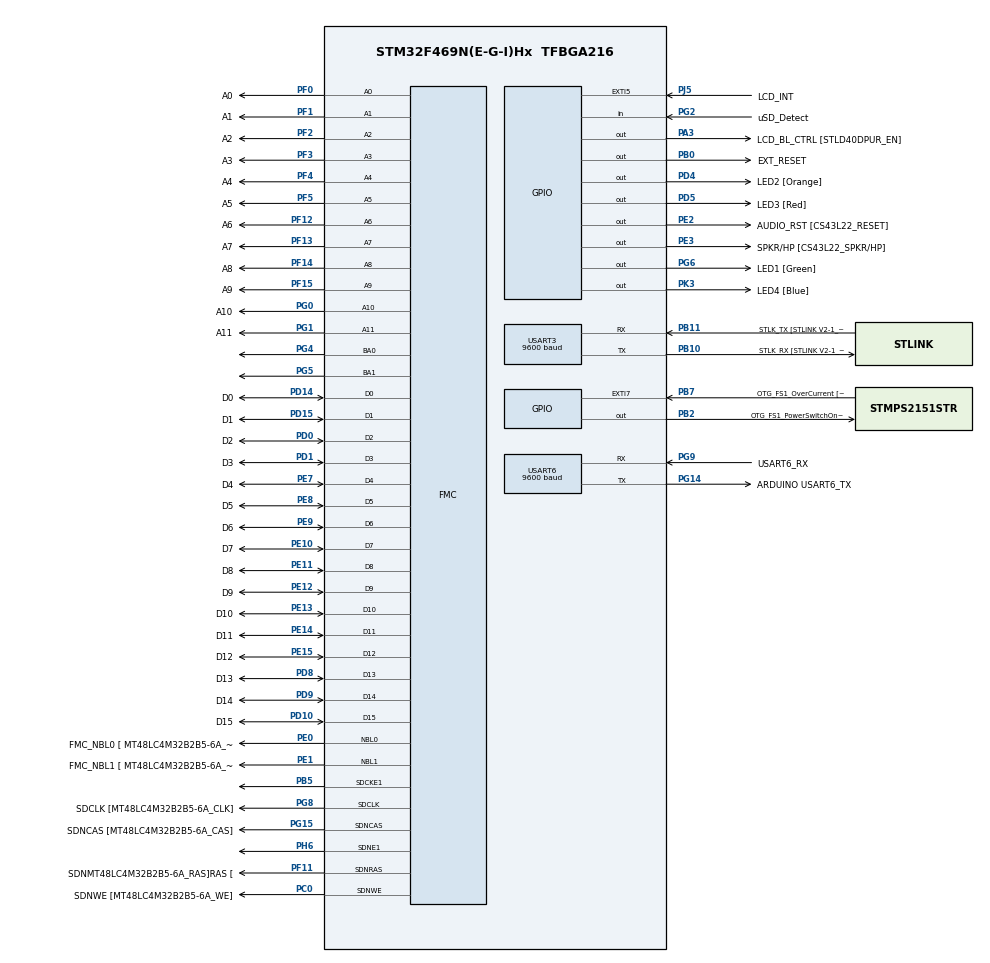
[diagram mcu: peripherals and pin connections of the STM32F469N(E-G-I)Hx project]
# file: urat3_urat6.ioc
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DSIHOST_CKN.GPIO_Label=DSI_CK_N
DSIHOST_CKN.Signal=DSIHOST_CKN
DSIHOST_CKP.GPIO_Label=DSI_CK_P
DSIHOST_CKP.Signal=DSIHOST_CKP
DSIHOST_D0N.GPIO_Label=DSI_D0_N
DSIHOST_D0N.Signal=DSIHOST_D0N
DSIHOST_D0P.GPIO_Label=DSI_D0_P
DSIHOST_D0P.Signal=DSIHOST_D0P
DSIHOST_D1N.GPIO_Label=DSI_D1_N
DSIHOST_D1N.Signal=DSIHOST_D1N
DSIHOST_D1P.GPIO_Label=DSI_D1_P
DSIHOST_D1P.Signal=DSIHOST_D1P
FMC.CASLatency1=FMC_SDRAM_CAS_LATENCY_2
FMC.ExitSelfRefreshDelay1=8
FMC.LoadToActiveDelay1=2
FMC.RCDDelay1=3
FMC.RPDelay1=2
FMC.RPDelay2=2
FMC.RowCycleDelay1=7
FMC.RowCycleDelay2=7
FMC.SDClockPeriod1=FMC_SDRAM_CLOCK_PERIOD_2
FMC.SDClockPeriod2=FMC_SDRAM_CLOCK_PERIOD_2
FMC.SelfRefreshTime1=5
FMC.WriteRecoveryTime1=2
Mcu.Family=STM32F4
Mcu.Name=STM32F469N(E-G-I)Hx
Mcu.Package=TFBGA216
NVIC.PriorityGroup=NVIC_PRIORITYGROUP_4
NVIC.USART3_IRQn=true\:0\:0\:false\:false\:true
NVIC.USART6_IRQn=true\:0\:0\:false\:false\:true
PA0/WKUP.GPIO_Label=WAKEUP [B2]
PA0/WKUP.Signal=SYS_WKUP
PA10.GPIO_Label=USB_FS1_ID
PA10.GPIO_Mode=GPIO_MODE_AF_PP
PA10.GPIO_PuPd=GPIO_NOPULL
PA10.GPIO_Speed=GPIO_SPEED_FREQ_VERY_HIGH
PA10.Signal=USB_OTG_FS_ID
PA11.GPIO_Label=USB_FS1_N
PA11.GPIO_Mode=GPIO_MODE_AF_PP
PA11.GPIO_PuPd=GPIO_NOPULL
PA11.GPIO_Speed=GPIO_SPEED_FREQ_VERY_HIGH
PA11.Signal=USB_OTG_FS_DM
PA12.GPIO_Label=USB_FS1_P
PA12.GPIO_Mode=GPIO_MODE_AF_PP
PA12.GPIO_PuPd=GPIO_NOPULL
PA12.GPIO_Speed=GPIO_SPEED_FREQ_VERY_HIGH
PA12.Signal=USB_OTG_FS_DP
PA13.GPIO_Label=SWDIO
PA13.Signal=SYS_JTMS-SWDIO
PA14.GPIO_Label=SWCLK
PA14.Signal=SYS_JTCK-SWCLK
PA3.GPIO_Label=LCD_BL_CTRL [STLD40DPUR_EN]
PA3.Signal=GPIO_Output
PA9.GPIO_Label=VBUS_FS1
PA9.GPIO_Mode=GPIO_MODE_AF_PP
PA9.GPIO_PuPd=GPIO_NOPULL
PA9.GPIO_Speed=GPIO_SPEED_FREQ_VERY_HIGH
PA9.Signal=USB_OTG_FS_VBUS
PB0.GPIO_Label=EXT_RESET
PB0.Signal=GPIO_Output
PB10.GPIO_Label=STLK_RX [STLINK V2-1_U2_RX]
PB10.Mode=Asynchronous
PB10.Signal=USART3_TX
PB11.GPIO_Label=STLK_TX [STLINK V2-1_U2_TX]
PB11.Mode=Asynchronous
PB11.Signal=USART3_RX
PB2/BOOT1.GPIO_Label=OTG_FS1_PowerSwitchOn [STMPS2151STR_En]
PB2/BOOT1.Signal=GPIO_Output
PB3.GPIO_Label=I2S3_CK
PB3.GPIO_Mode=GPIO_MODE_AF_PP
PB3.GPIO_PuPd=GPIO_NOPULL
PB3.GPIO_Speed=GPIO_SPEED_FREQ_LOW
PB3.Signal=I2S3_CK
PB5.Mode=SdramChipSelect2_1
PB5.Signal=FMC_SDCKE1
PB6.GPIO_Label=QSPI_BK1_NCS [N25Q128A13EF840F_S]
PB6.GPIO_Mode=GPIO_MODE_AF_PP
PB6.GPIO_PuPd=GPIO_NOPULL
PB6.GPIO_Speed=GPIO_SPEED_FREQ_VERY_HIGH
PB6.Signal=QUADSPI_BK1_NCS
PB7.GPIO_Label=OTG_FS1_OverCurrent [STMPS2151STR_FAULT]
PB7.GPIO_ModeDefaultEXTI=GPIO_MODE_IT_RISING
PB7.GPIO_PuPd=GPIO_NOPULL
PB7.Signal=GPXTI7
PB8.GPIO_Label=I2C1_SCL
PB8.GPIO_Mode=GPIO_MODE_AF_OD
PB8.GPIO_PuPdOD=GPIO_PULLUP
PB8.GPIO_Speed=GPIO_SPEED_FREQ_VERY_HIGH
PB8.Signal=I2C1_SCL
PB9.GPIO_Label=I2C1_SDA
PB9.GPIO_Mode=GPIO_MODE_AF_OD
PB9.GPIO_PuPdOD=GPIO_PULLUP
PB9.GPIO_Speed=GPIO_SPEED_FREQ_VERY_HIGH
PB9.Signal=I2C1_SDA
PC0.GPIO_Label=SDNWE [MT48LC4M32B2B5-6A_WE]
PC0.Signal=FMC_SDNWE
PC10.GPIO_Label=uSD_D2
PC10.GPIO_Mode=GPIO_MODE_AF_PP
PC10.GPIO_PuPd=GPIO_NOPULL
PC10.GPIO_Speed_High_Default=GPIO_SPEED_FREQ_VERY_HIGH
PC10.Signal=SDIO_D2
PC11.GPIO_Label=uSD_D3
PC11.GPIO_Mode=GPIO_MODE_AF_PP
PC11.GPIO_PuPd=GPIO_NOPULL
PC11.GPIO_Speed_High_Default=GPIO_SPEED_FREQ_VERY_HIGH
PC11.Signal=SDIO_D3
PC12.GPIO_Label=uSD_CLK
PC12.GPIO_Mode=GPIO_MODE_AF_PP
PC12.GPIO_PuPd=GPIO_NOPULL
PC12.GPIO_Speed_High_Default=GPIO_SPEED_FREQ_VERY_HIGH
PC12.Signal=SDIO_CK
PC14/OSC32_IN.Signal=RCC_OSC32_IN
PC15/OSC32_OUT.Signal=RCC_OSC32_OUT
PC8.GPIO_Label=uSD_D0
PC8.GPIO_Mode=GPIO_MODE_AF_PP
PC8.GPIO_PuPd=GPIO_NOPULL
PC8.GPIO_Speed_High_Default=GPIO_SPEED_FREQ_VERY_HIGH
PC8.Signal=SDIO_D0
PC9.GPIO_Label=uSD_D1
PC9.GPIO_Mode=GPIO_MODE_AF_PP
PC9.GPIO_PuPd=GPIO_NOPULL
PC9.GPIO_Speed_High_Default=GPIO_SPEED_FREQ_VERY_HIGH
PC9.Signal=SDIO_D1
PD0.GPIO_Label=D2
PD0.GPIO_Mode=GPIO_MODE_AF_PP
PD0.GPIO_PuPd=GPIO_NOPULL
PD0.GPIO_Speed_High_Default=GPIO_SPEED_FREQ_VERY_HIGH
PD0.Signal=FMC_D2_DA2
PD1.GPIO_Label=D3
PD1.GPIO_Mode=GPIO_MODE_AF_PP
PD1.GPIO_PuPd=GPIO_NOPULL
PD1.GPIO_Speed_High_Default=GPIO_SPEED_FREQ_VERY_HIGH
PD1.Signal=FMC_D3_DA3
PD10.GPIO_Label=D15
PD10.Signal=FMC_D15_DA15
PD13.GPIO_Label=MIC_CK [MP34DT01TR_CLK]
PD13.Signal=S_TIM4_CH2
PD14.GPIO_Label=D0
PD14.Signal=FMC_D0_DA0
PD15.GPIO_Label=D1
PD15.Signal=FMC_D1_DA1
PD2.GPIO_Label=uSD_CMD
PD2.GPIO_Mode=GPIO_MODE_AF_PP
PD2.GPIO_PuPd=GPIO_NOPULL
PD2.GPIO_Speed_High_Default=GPIO_SPEED_FREQ_VERY_HIGH
PD2.Signal=SDIO_CMD
PD4.GPIO_Label=LED2 [Orange]
PD4.GPIO_ModeDefaultOutputPP=GPIO_MODE_OUTPUT_OD
PD4.GPIO_PuPd=GPIO_NOPULL
PD4.GPIO_Speed=GPIO_SPEED_FREQ_LOW
PD4.Signal=GPIO_Output
PD5.GPIO_Label=LED3 [Red]
PD5.GPIO_ModeDefaultOutputPP=GPIO_MODE_OUTPUT_OD
PD5.GPIO_PuPd=GPIO_NOPULL
PD5.GPIO_Speed=GPIO_SPEED_FREQ_LOW
PD5.Signal=GPIO_Output
PD6.GPIO_Label=MIC_DATA [MP34DT01TR_DOUT]
PD6.GPIO_Mode=GPIO_MODE_AF_PP
PD6.GPIO_PuPd=GPIO_NOPULL
PD6.GPIO_Speed=GPIO_SPEED_FREQ_LOW
PD6.Signal=SAI1_SD_A
PD8.GPIO_Label=D13
PD8.Signal=FMC_D13_DA13
PD9.GPIO_Label=D14
PD9.Signal=FMC_D14_DA14
PE0.GPIO_Label=FMC_NBL0 [ MT48LC4M32B2B5-6A_DQM0]
PE0.GPIO_Mode=GPIO_MODE_AF_PP
PE0.GPIO_PuPd=GPIO_NOPULL
PE0.GPIO_Speed_High_Default=GPIO_SPEED_FREQ_VERY_HIGH
PE0.Signal=FMC_NBL0
PE1.GPIO_Label=FMC_NBL1 [ MT48LC4M32B2B5-6A_DQM1]
PE1.GPIO_Mode=GPIO_MODE_AF_PP
PE1.GPIO_PuPd=GPIO_NOPULL
PE1.GPIO_Speed_High_Default=GPIO_SPEED_FREQ_VERY_HIGH
PE1.Signal=FMC_NBL1
PE10.GPIO_Label=D7
PE10.Signal=FMC_D7_DA7
PE11.GPIO_Label=D8
PE11.Signal=FMC_D8_DA8
PE12.GPIO_Label=D9
PE12.Signal=FMC_D9_DA9
PE13.GPIO_Label=D10
PE13.Signal=FMC_D10_DA10
PE14.GPIO_Label=D11
PE14.Signal=FMC_D11_DA11
PE15.GPIO_Label=D12
PE15.Signal=FMC_D12_DA12
PE2.GPIO_Label=AUDIO_RST [CS43L22_RESET]
PE2.GPIO_ModeDefaultOutputPP=GPIO_MODE_OUTPUT_PP
PE2.GPIO_PuPd=GPIO_NOPULL
PE2.GPIO_Speed=GPIO_SPEED_FREQ_LOW
PE2.Signal=GPIO_Output
PE3.GPIO_Label=SPKR/HP [CS43L22_SPKR/HP]
PE3.GPIO_ModeDefaultOutputPP=GPIO_MODE_OUTPUT_PP
PE3.GPIO_PuPd=GPIO_NOPULL
PE3.GPIO_Speed=GPIO_SPEED_FREQ_LOW
PE3.Signal=GPIO_Output
PE4.GPIO_Label=SAI1_FSA [CS43L22_LRCK]
PE4.GPIO_Mode=GPIO_MODE_AF_PP
PE4.GPIO_PuPd=GPIO_NOPULL
PE4.GPIO_Speed=GPIO_SPEED_FREQ_LOW
PE4.Signal=SAI1_FS_A
PE5.GPIO_Label=SAI1_SCKA [CS43L22_CLK]
PE5.GPIO_Mode=GPIO_MODE_AF_PP
PE5.GPIO_PuPd=GPIO_NOPULL
PE5.GPIO_Speed=GPIO_SPEED_FREQ_LOW
PE5.Signal=SAI1_SCK_A
PE7.GPIO_Label=D4
PE7.Signal=FMC_D4_DA4
PE8.GPIO_Label=D5
PE8.Signal=FMC_D5_DA5
PE9.GPIO_Label=D6
PE9.Signal=FMC_D6_DA6
PF0.GPIO_Label=A0
PF0.GPIO_Mode=GPIO_MODE_AF_PP
PF0.GPIO_PuPd=GPIO_NOPULL
PF0.GPIO_Speed_High_Default=GPIO_SPEED_FREQ_VERY_HIGH
PF0.Signal=FMC_A0
PF1.GPIO_Label=A1
PF1.GPIO_Mode=GPIO_MODE_AF_PP
PF1.GPIO_PuPd=GPIO_NOPULL
PF1.GPIO_Speed_High_Default=GPIO_SPEED_FREQ_VERY_HIGH
PF1.Signal=FMC_A1
PF10.GPIO_Label=QSPI_CLK [N25Q128A13EF840F_C]
PF10.Signal=QUADSPI_CLK
PF11.GPIO_Label=SDNMT48LC4M32B2B5-6A_RAS]RAS [
PF11.Signal=FMC_SDNRAS
PF12.GPIO_Label=A6
PF12.Signal=FMC_A6
PF13.GPIO_Label=A7
PF13.Signal=FMC_A7
PF14.GPIO_Label=A8
PF14.Signal=FMC_A8
PF15.GPIO_Label=A9
PF15.Signal=FMC_A9
PF2.GPIO_Label=A2
PF2.GPIO_Mode=GPIO_MODE_AF_PP
PF2.GPIO_PuPd=GPIO_NOPULL
PF2.GPIO_Speed_High_Default=GPIO_SPEED_FREQ_VERY_HIGH
PF2.Signal=FMC_A2
PF3.GPIO_Label=A3
PF3.GPIO_Mode=GPIO_MODE_AF_PP
PF3.GPIO_PuPd=GPIO_NOPULL
PF3.GPIO_Speed_High_Default=GPIO_SPEED_FREQ_VERY_HIGH
PF3.Signal=FMC_A3
PF4.GPIO_Label=A4
PF4.GPIO_Mode=GPIO_MODE_AF_PP
PF4.GPIO_PuPd=GPIO_NOPULL
PF4.GPIO_Speed_High_Default=GPIO_SPEED_FREQ_VERY_HIGH
PF4.Signal=FMC_A4
PF5.GPIO_Label=A5
PF5.Signal=FMC_A5
PF6.GPIO_Label=QSPI_BK1_IO3 [N25Q128A13EF840F_DQ3]
PF6.Signal=QUADSPI_BK1_IO3
PF7.GPIO_Label=QSPI_BK1_IO2 [N25Q128A13EF840F_DQ2]
PF7.Signal=QUADSPI_BK1_IO2
PF8.GPIO_Label=QSPI_BK1_IO0 [N25Q128A13EF840F_DQ0]
PF8.Signal=QUADSPI_BK1_IO0
PF9.GPIO_Label=QSPI_BK1_IO1 [N25Q128A13EF840F_DQ1]
PF9.Signal=QUADSPI_BK1_IO1
PG0.GPIO_Label=A10
PG0.Signal=FMC_A10
PG1.GPIO_Label=A11
PG1.Signal=FMC_A11
PG14.GPIO_Label=ARDUINO USART6_TX
PG14.GPIO_Mode=GPIO_MODE_AF_PP
PG14.GPIO_PuPd=GPIO_NOPULL
PG14.GPIO_Speed=GPIO_SPEED_FREQ_VERY_HIGH
PG14.Mode=Asynchronous
PG14.Signal=USART6_TX
PG15.GPIO_Label=SDNCAS [MT48LC4M32B2B5-6A_CAS]
PG15.GPIO_Mode=GPIO_MODE_AF_PP
PG15.GPIO_PuPd=GPIO_NOPULL
PG15.GPIO_Speed_High_Default=GPIO_SPEED_FREQ_VERY_HIGH
PG15.Signal=FMC_SDNCAS
PG2.GPIO_Label=uSD_Detect
PG2.Signal=GPIO_Input
PG4.Signal=FMC_A14_BA0
PG5.Signal=FMC_A15_BA1
PG6.GPIO_Label=LED1 [Green]
PG6.GPIO_ModeDefaultOutputPP=GPIO_MODE_OUTPUT_OD
PG6.GPIO_PuPd=GPIO_NOPULL
PG6.GPIO_Speed=GPIO_SPEED_FREQ_LOW
PG6.Signal=GPIO_Output
PG7.GPIO_Label=SAI1_MCLKA [CS43L22_MCLK]
PG7.GPIO_Mode=GPIO_MODE_AF_PP
PG7.GPIO_PuPd=GPIO_NOPULL
PG7.GPIO_Speed=GPIO_SPEED_FREQ_LOW
PG7.Signal=SAI1_MCLK_A
PG8.GPIO_Label=SDCLK [MT48LC4M32B2B5-6A_CLK]
PG8.GPIO_Mode=GPIO_MODE_AF_PP
PG8.GPIO_PuPd=GPIO_NOPULL
PG8.GPIO_Speed_High_Default=GPIO_SPEED_FREQ_VERY_HIGH
PG8.Signal=FMC_SDCLK
PG9.GPIO_Label=USART6_RX
PG9.GPIO_Mode=GPIO_MODE_AF_PP
PG9.GPIO_PuPd=GPIO_NOPULL
PG9.GPIO_Speed=GPIO_SPEED_FREQ_VERY_HIGH
PG9.Mode=Asynchronous
PG9.Signal=USART6_RX
PH0/OSC_IN.Signal=RCC_OSC_IN
PH1/OSC_OUT.Signal=RCC_OSC_OUT
PH10.GPIO_Label=D18
PH10.Signal=FMC_D18
PH11.GPIO_Label=D19
PH11.Signal=FMC_D19
PH12.GPIO_Label=D20
PH12.Signal=FMC_D20
PH13.GPIO_Label=D21
PH13.GPIO_Mode=GPIO_MODE_AF_PP
PH13.GPIO_PuPd=GPIO_NOPULL
PH13.GPIO_Speed_High_Default=GPIO_SPEED_FREQ_VERY_HIGH
PH13.Signal=FMC_D21
PH14.GPIO_Label=D22
PH14.GPIO_Mode=GPIO_MODE_AF_PP
PH14.GPIO_PuPd=GPIO_NOPULL
PH14.GPIO_Speed_High_Default=GPIO_SPEED_FREQ_VERY_HIGH
PH14.Signal=FMC_D22
PH15.GPIO_Label=D23
PH15.GPIO_Mode=GPIO_MODE_AF_PP
PH15.GPIO_PuPd=GPIO_NOPULL
PH15.GPIO_Speed_High_Default=GPIO_SPEED_FREQ_VERY_HIGH
PH15.Signal=FMC_D23
PH2.GPIO_Label=SDCKE0 [MT48LC4M32B2B5-6A_CKE]
PH2.Signal=FMC_SDCKE0
PH3.GPIO_Label=SDNE0 [MT48LC4M32B2B5-6A_CS]
PH3.GPIO_Mode=GPIO_MODE_AF_PP
PH3.GPIO_PuPd=GPIO_NOPULL
PH3.GPIO_Speed_High_Default=GPIO_SPEED_FREQ_VERY_HIGH
PH3.Signal=FMC_SDNE0
PH4.GPIO_Label=I2C2_SCL [CS43L22_SCL]
PH4.GPIO_Mode=GPIO_MODE_AF_OD
PH4.GPIO_PuPdOD=GPIO_PULLUP
PH4.GPIO_Speed=GPIO_SPEED_FREQ_VERY_HIGH
PH4.Signal=I2C2_SCL
PH5.GPIO_Label=I2C2_SDA [CS43L22_SDA]
PH5.GPIO_Mode=GPIO_MODE_AF_OD
PH5.GPIO_PuPdOD=GPIO_PULLUP
PH5.GPIO_Speed=GPIO_SPEED_FREQ_VERY_HIGH
PH5.Signal=I2C2_SDA
PH6.Mode=SdramChipSelect2_1
PH6.Signal=FMC_SDNE1
PH8.GPIO_Label=D16
PH8.Signal=FMC_D16
PH9.GPIO_Label=D17
PH9.Signal=FMC_D17
PI0.GPIO_Label=D24
PI0.GPIO_Mode=GPIO_MODE_AF_PP
PI0.GPIO_PuPd=GPIO_NOPULL
PI0.GPIO_Speed_High_Default=GPIO_SPEED_FREQ_VERY_HIGH
PI0.Signal=FMC_D24
PI1.GPIO_Label=D25
PI1.GPIO_Mode=GPIO_MODE_AF_PP
PI1.GPIO_PuPd=GPIO_NOPULL
PI1.GPIO_Speed_High_Default=GPIO_SPEED_FREQ_VERY_HIGH
PI1.Signal=FMC_D25
PI10.GPIO_Label=D31
PI10.GPIO_Mode=GPIO_MODE_AF_PP
PI10.GPIO_PuPd=GPIO_NOPULL
PI10.GPIO_Speed_High_Default=GPIO_SPEED_FREQ_VERY_HIGH
PI10.Signal=FMC_D31
PI2.GPIO_Label=D26
PI2.GPIO_Mode=GPIO_MODE_AF_PP
PI2.GPIO_PuPd=GPIO_NOPULL
PI2.GPIO_Speed_High_Default=GPIO_SPEED_FREQ_VERY_HIGH
PI2.Signal=FMC_D26
PI3.GPIO_Label=D27
PI3.GPIO_Mode=GPIO_MODE_AF_PP
PI3.GPIO_PuPd=GPIO_NOPULL
PI3.GPIO_Speed_High_Default=GPIO_SPEED_FREQ_VERY_HIGH
PI3.Signal=FMC_D27
PI4.GPIO_Label=FMC_NBL2 [MT48LC4M32B2B5-6A_DQM2]
PI4.GPIO_Mode=GPIO_MODE_AF_PP
PI4.GPIO_PuPd=GPIO_NOPULL
PI4.GPIO_Speed_High_Default=GPIO_SPEED_FREQ_VERY_HIGH
PI4.Signal=FMC_NBL2
PI5.GPIO_Label=FMC_NBL3 [MT48LC4M32B2B5-6A_DQM3]
PI5.GPIO_Mode=GPIO_MODE_AF_PP
PI5.GPIO_PuPd=GPIO_NOPULL
PI5.GPIO_Speed_High_Default=GPIO_SPEED_FREQ_VERY_HIGH
PI5.Signal=FMC_NBL3
PI6.GPIO_Label=D28
PI6.GPIO_Mode=GPIO_MODE_AF_PP
PI6.GPIO_PuPd=GPIO_NOPULL
PI6.GPIO_Speed_High_Default=GPIO_SPEED_FREQ_VERY_HIGH
PI6.Signal=FMC_D28
PI7.GPIO_Label=D29
PI7.GPIO_Mode=GPIO_MODE_AF_PP
PI7.GPIO_PuPd=GPIO_NOPULL
PI7.GPIO_Speed_High_Default=GPIO_SPEED_FREQ_VERY_HIGH
PI7.Signal=FMC_D29
PI9.GPIO_Label=D30
PI9.GPIO_Mode=GPIO_MODE_AF_PP
PI9.GPIO_PuPd=GPIO_NOPULL
PI9.GPIO_Speed_High_Default=GPIO_SPEED_FREQ_VERY_HIGH
PI9.Signal=FMC_D30
PJ2.GPIO_Label=DSI_TE
PJ2.Signal=DSIHOST_TE
PJ5.GPIO_Label=LCD_INT
PJ5.Signal=GPXTI5
PK3.GPIO_Label=LED4 [Blue]
PK3.GPIO_ModeDefaultOutputPP=GPIO_MODE_OUTPUT_OD
PK3.GPIO_PuPd=GPIO_NOPULL
PK3.GPIO_Speed=GPIO_SPEED_FREQ_LOW
PK3.Signal=GPIO_Output
ProjectManager.HeapSize=0x200
ProjectManager.StackSize=0x400
ProjectManager.TargetToolchain=MDK-ARM V5
RCC.CortexFreq_Value=16000000
RCC.VCOOutputFreq_Value=192000000
SH.FMC_A0.0=FMC_A0,12b-sda1
SH.FMC_A1.0=FMC_A1,12b-sda1
SH.FMC_A10.0=FMC_A10,12b-sda1
SH.FMC_A11.0=FMC_A11,12b-sda1
SH.FMC_A14_BA0.0=FMC_BA0,FourSdramBanks1
SH.FMC_A15_BA1.0=FMC_BA1,FourSdramBanks1
SH.FMC_A2.0=FMC_A2,12b-sda1
SH.FMC_A3.0=FMC_A3,12b-sda1
SH.FMC_A4.0=FMC_A4,12b-sda1
SH.FMC_A5.0=FMC_A5,12b-sda1
SH.FMC_A6.0=FMC_A6,12b-sda1
SH.FMC_A7.0=FMC_A7,12b-sda1
SH.FMC_A8.0=FMC_A8,12b-sda1
SH.FMC_A9.0=FMC_A9,12b-sda1
SH.FMC_D0_DA0.0=FMC_D0,sd-16b-d1
SH.FMC_D10_DA10.0=FMC_D10,sd-16b-d1
SH.FMC_D11_DA11.0=FMC_D11,sd-16b-d1
SH.FMC_D12_DA12.0=FMC_D12,sd-16b-d1
SH.FMC_D13_DA13.0=FMC_D13,sd-16b-d1
SH.FMC_D14_DA14.0=FMC_D14,sd-16b-d1
SH.FMC_D15_DA15.0=FMC_D15,sd-16b-d1
SH.FMC_D16.0=FMC_D16
SH.FMC_D17.0=FMC_D17
SH.FMC_D18.0=FMC_D18
SH.FMC_D19.0=FMC_D19
SH.FMC_D1_DA1.0=FMC_D1,sd-16b-d1
SH.FMC_D20.0=FMC_D20
SH.FMC_D21.0=FMC_D21
SH.FMC_D22.0=FMC_D22
SH.FMC_D23.0=FMC_D23
SH.FMC_D24.0=FMC_D24
SH.FMC_D25.0=FMC_D25
SH.FMC_D26.0=FMC_D26
SH.FMC_D27.0=FMC_D27
SH.FMC_D28.0=FMC_D28
SH.FMC_D29.0=FMC_D29
SH.FMC_D2_DA2.0=FMC_D2,sd-16b-d1
SH.FMC_D30.0=FMC_D30
SH.FMC_D31.0=FMC_D31
SH.FMC_D3_DA3.0=FMC_D3,sd-16b-d1
SH.FMC_D4_DA4.0=FMC_D4,sd-16b-d1
SH.FMC_D5_DA5.0=FMC_D5,sd-16b-d1
SH.FMC_D6_DA6.0=FMC_D6,sd-16b-d1
SH.FMC_D7_DA7.0=FMC_D7,sd-16b-d1
SH.FMC_D8_DA8.0=FMC_D8,sd-16b-d1
SH.FMC_D9_DA9.0=FMC_D9,sd-16b-d1
SH.FMC_NBL0.0=FMC_NBL0,Sd2ByteEnable1
SH.FMC_NBL1.0=FMC_NBL1,Sd2ByteEnable1
SH.FMC_NBL2.0=FMC_NBL2
SH.FMC_NBL3.0=FMC_NBL3
SH.FMC_SDCLK.0=FMC_SDCLK,12b-sda1
SH.FMC_SDNCAS.0=FMC_SDNCAS,12b-sda1
SH.FMC_SDNRAS.0=FMC_SDNRAS,12b-sda1
SH.FMC_SDNWE.0=FMC_SDNWE,12b-sda1
SH.S_TIM4_CH2.0=TIM4_CH2
USART3.BaudRate=9600
USART3.VirtualMode=VM_ASYNC
USART6.BaudRate=9600
USART6.VirtualMode=VM_ASYNC
board=STM32F469I-DISCO

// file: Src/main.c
/**
  ******************************************************************************
  * File Name          : main.c
  * Description        : Main program body
  ******************************************************************************
  *
  * COPYRIGHT(c) 2017 STMicroelectronics
  *
  * Redistribution and use in source and binary forms, with or without modification,
  * are permitted provided that the following conditions are met:
  *   1. Redistributions of source code must retain the above copyright notice,
  *      this list of conditions and the following disclaimer.
  *   2. Redistributions in binary form must reproduce the above copyright notice,
  *      this list of conditions and the following disclaimer in the documentation
  *      and/or other materials provided with the distribution.
  *   3. Neither the name of STMicroelectronics nor the names of its contributors
  *      may be used to endorse or promote products derived from this software
  *      without specific prior written permission.
  *
  * THIS SOFTWARE IS PROVIDED BY THE COPYRIGHT HOLDERS AND CONTRIBUTORS "AS IS"
  * AND ANY EXPRESS OR IMPLIED WARRANTIES, INCLUDING, BUT NOT LIMITED TO, THE
  * IMPLIED WARRANTIES OF MERCHANTABILITY AND FITNESS FOR A PARTICULAR PURPOSE ARE
  * DISCLAIMED. IN NO EVENT SHALL THE COPYRIGHT HOLDER OR CONTRIBUTORS BE LIABLE
  * FOR ANY DIRECT, INDIRECT, INCIDENTAL, SPECIAL, EXEMPLARY, OR CONSEQUENTIAL
  * DAMAGES (INCLUDING, BUT NOT LIMITED TO, PROCUREMENT OF SUBSTITUTE GOODS OR
  * SERVICES; LOSS OF USE, DATA, OR PROFITS; OR BUSINESS INTERRUPTION) HOWEVER
  * CAUSED AND ON ANY THEORY OF LIABILITY, WHETHER IN CONTRACT, STRICT LIABILITY,
  * OR TORT (INCLUDING NEGLIGENCE OR OTHERWISE) ARISING IN ANY WAY OUT OF THE USE
  * OF THIS SOFTWARE, EVEN IF ADVISED OF THE POSSIBILITY OF SUCH DAMAGE.
  *
  ******************************************************************************
  */
#include "main.h"
#include "stm32f4xx_hal.h"
#include "usart.h"
#include "gpio.h"
#include "fmc.h"

/* USER CODE BEGIN Includes */
#include "stm32746g_sdram.h"
/* USER CODE END Includes */

/* USER CODE BEGIN PV */
/* Private function prototypes -----------------------------------------------*/
#define BUFFER_SIZE         ((uint32_t)0x0100)
#define WRITE_READ_ADDR     ((uint32_t)0x0800)
/* Read/Write Buffers */
uint32_t aTxBuffer[BUFFER_SIZE];
uint32_t aRxBuffer[BUFFER_SIZE];
/* Status variables */
__IO uint32_t uwWriteReadStatus = 0;
int i;
/* USER CODE END PV */

void SystemClock_Config(void);
void Error_Handler(void);

/* USER CODE BEGIN PFP */
/* Private function prototypes -----------------------------------------------*/

/* USER CODE END PFP */

int main(void)
{

  /* MCU Configuration----------------------------------------------------------*/

  /* Reset of all peripherals, Initializes the Flash interface and the Systick. */
  HAL_Init();

  /* Configure the system clock */
  SystemClock_Config();

  /* Initialize all configured peripherals */
  MX_GPIO_Init();
  MX_USART3_UART_Init();
  MX_USART6_UART_Init();
  MX_FMC_Init();

  /* USER CODE BEGIN 2 */
    BSP_SDRAM_Initialization_sequence(&hsdram1);
    /*##-2- SDRAM memory read/write access #####################################*/
    /* Fill the buffer to write */
    for(i=0; i<BUFFER_SIZE; i++)
    {
            aTxBuffer[i]=0xC178A562+i;     /* TxBuffer init */
    }

    /* Write data to the SDRAM memory */
    BSP_SDRAM_WriteData(&hsdram1, SDRAM_DEVICE_ADDR+WRITE_READ_ADDR,aTxBuffer);
    printf("\r\n/* Write data to the SDRAM memory */\r\n\r\n");
    for(i=0;i< BUFFER_SIZE;i++)
    {
            printf("%02X:0x%08X ",i,aTxBuffer[i]);
    }
    printf("\r\n");

    /* Read back data from the SDRAM memory */
    BSP_SDRAM_ReadData(&hsdram1, SDRAM_DEVICE_ADDR+WRITE_READ_ADDR, aRxBuffer);
    printf("\r\n/* Read back data from the SDRAM memory */\r\n\r\n");
    for(i=0;i< BUFFER_SIZE;i++)
    {
            printf("%02X:0x%08X ",i,aRxBuffer[i]);
    }
    printf("\r\n");

    /*##-3- Checking data integrity ############################################*/
    for (i = 0; (i < BUFFER_SIZE); i++)
    {
            if (aRxBuffer[i] != aTxBuffer[i])
                    uwWriteReadStatus++;
    }
    if(uwWriteReadStatus == 0 ) /* check date */
            printf("\r\n SDRAM Test OK\r\n");
    else
            printf("\r\n SDRAM Test False\r\n");
  /* USER CODE END 2 */

  /* Infinite loop */
  while (1)
  {

  }

}

/** System Clock Configuration
*/
void SystemClock_Config(void)
{

  RCC_OscInitTypeDef RCC_OscInitStruct;
  RCC_ClkInitTypeDef RCC_ClkInitStruct;

    /**Configure the main internal regulator output voltage
    */
  __HAL_RCC_PWR_CLK_ENABLE();

  __HAL_PWR_VOLTAGESCALING_CONFIG(PWR_REGULATOR_VOLTAGE_SCALE3);

    /**Initializes the CPU, AHB and APB busses clocks
    */
  RCC_OscInitStruct.OscillatorType = RCC_OSCILLATORTYPE_HSI;
  RCC_OscInitStruct.HSIState = RCC_HSI_ON;
  RCC_OscInitStruct.HSICalibrationValue = 16;
  RCC_OscInitStruct.PLL.PLLState = RCC_PLL_NONE;
  if (HAL_RCC_OscConfig(&RCC_OscInitStruct) != HAL_OK)
  {
    Error_Handler();
  }

    /**Initializes the CPU, AHB and APB busses clocks
    */
  RCC_ClkInitStruct.ClockType = RCC_CLOCKTYPE_HCLK|RCC_CLOCKTYPE_SYSCLK
                              |RCC_CLOCKTYPE_PCLK1|RCC_CLOCKTYPE_PCLK2;
  RCC_ClkInitStruct.SYSCLKSource = RCC_SYSCLKSOURCE_HSI;
  RCC_ClkInitStruct.AHBCLKDivider = RCC_SYSCLK_DIV1;
  RCC_ClkInitStruct.APB1CLKDivider = RCC_HCLK_DIV1;
  RCC_ClkInitStruct.APB2CLKDivider = RCC_HCLK_DIV1;

  if (HAL_RCC_ClockConfig(&RCC_ClkInitStruct, FLASH_LATENCY_0) != HAL_OK)
  {
    Error_Handler();
  }

    /**Configure the Systick interrupt time
    */
  HAL_SYSTICK_Config(HAL_RCC_GetHCLKFreq()/1000);

    /**Configure the Systick
    */
  HAL_SYSTICK_CLKSourceConfig(SYSTICK_CLKSOURCE_HCLK);

  /* SysTick_IRQn interrupt configuration */
  HAL_NVIC_SetPriority(SysTick_IRQn, 0, 0);
}

void Error_Handler(void)
{
  while(1)
  {
  }
}

/************************ (C) COPYRIGHT STMicroelectronics *****END OF FILE****/
